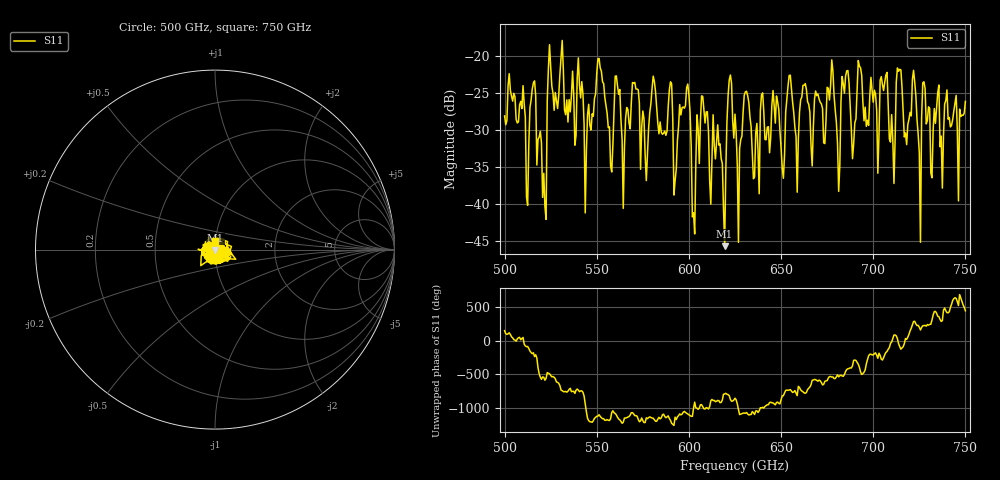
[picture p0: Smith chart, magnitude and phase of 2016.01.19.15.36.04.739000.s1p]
!Created with skrf (http://scikit-rf.org).
# GHz S RI R 50.0
!freq ReS11 ImS11
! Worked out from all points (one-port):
!   401 points, 500 GHz to 750 GHz, reference 50 ohm
!   lowest |S11| = -45.7 dB at 619.4 GHz (marker M1), VSWR 1.01, Z = 50.1 - j0.502 ohm
!   |S11| at or under -10 dB: start of sweep to end of sweep
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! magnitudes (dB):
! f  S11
! 500 GHz  -28.1
! 509.4 GHz  -27.1
! 512.5 GHz  -40.2
! 515.6 GHz  -23.6
! 521.2 GHz  -35.8
! 524.4 GHz  -18.5
! 531.2 GHz  -17.9
! 544.4 GHz  -32.8
! 551.2 GHz  -20.3
! 557.5 GHz  -34.8
! 562.5 GHz  -24.5
! 590 GHz  -23.5
! 593.8 GHz  -31.4
! 599.4 GHz  -23.8
! 602.5 GHz  -41.2
! 608.1 GHz  -27.2
! 619.4 GHz  -45.7
! 621.9 GHz  -23.2
! 625 GHz  -27.8
! 646.9 GHz  -29.1
! 650.6 GHz  -35.1
! 656.2 GHz  -26.2
! 687.5 GHz  -26.7
! 706.2 GHz  -23.5
! 710.6 GHz  -31.3
! 713.8 GHz  -22.1
! 718.8 GHz  -29.3
! 750 GHz  -26.1
